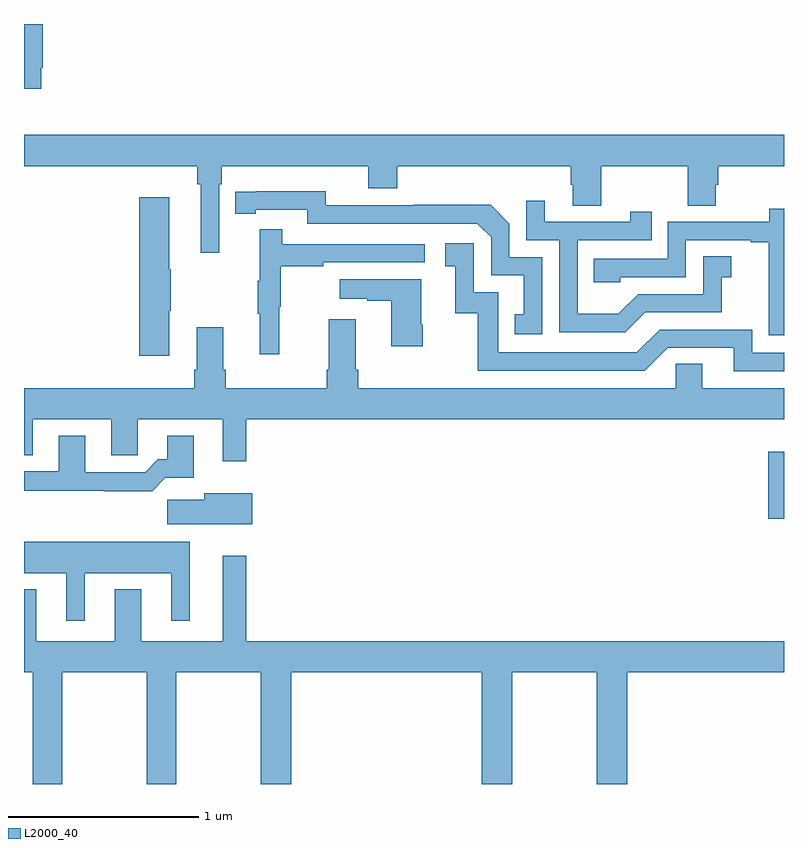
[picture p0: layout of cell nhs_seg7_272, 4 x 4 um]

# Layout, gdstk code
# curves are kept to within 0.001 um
import gdstk
lib = gdstk.Library(unit=1e-6, precision=1e-09)
def R(c, l, rs):  # rectangles x0, y0, x1, y1
    for r in rs: c.add(gdstk.rectangle(r[:2], r[2:], *l))
def P(c, l, *ps):  # polygons
    for p in ps: c.add(gdstk.Polygon(p, *l))
L2000_40 = (2000, 40)

nhs_seg7_272 = lib.new_cell('nhs_seg7_272')
R(nhs_seg7_272, L2000_40, [(134.918,1029.395,135,1029.748)])
P(nhs_seg7_272, L2000_40, [(131.092,1031.77),(131.099,1031.77),(131.099,1032),(131,1032),(131,1031.658),(131.092,1031.658)],
  [(132.027,1031.156),(132.041,1031.156),(132.041,1031.252),(132.812,1031.252),(132.812,1031.135),(132.965,1031.135),(132.965,1031.252),(133.877,1031.252),(133.877,1031.154),(133.889,1031.154),(133.889,1031.044),(134.037,1031.044),(134.037,1031.252),(134.494,1031.252),(134.494,1031.044),(134.641,1031.044),(134.641,1031.154),(134.654,1031.154),(134.654,1031.252),(135,1031.252),(135,1031.416),(131,1031.416),(131,1031.252),(131.911,1031.252),(131.911,1031.156),(131.93,1031.156),(131.93,1030.797),(132.027,1030.797)],
  [(133.728,1030.773),(133.554,1030.773),(133.554,1030.95),(133.456,1031.048),(133.048,1031.048),(133.048,1031.046),(132.588,1031.046),(132.588,1031.119),(132.112,1031.118),(132.112,1031.002),(132.22,1031.002),(132.22,1031.022),(132.492,1031.022),(132.492,1030.95),(133.386,1030.95),(133.458,1030.878),(133.458,1030.677),(133.631,1030.677),(133.631,1030.473),(133.582,1030.473),(133.582,1030.368),(133.728,1030.368)],
  [(131.764,1030.492),(131.772,1030.492),(131.772,1030.709),(131.764,1030.709),(131.764,1031.089),(131.606,1031.089),(131.606,1030.254),(131.764,1030.254)],
  [(134.269,1030.482),(134.673,1030.482),(134.673,1030.667),(134.722,1030.667),(134.722,1030.777),(134.574,1030.777),(134.574,1030.578),(134.232,1030.578),(134.128,1030.474),(133.914,1030.474),(133.914,1030.863),(134.303,1030.863),(134.303,1031.011),(134.192,1031.011),(134.192,1030.959),(133.741,1030.959),(133.741,1031.071),(133.644,1031.071),(133.644,1030.863),(133.818,1030.863),(133.818,1030.377),(134.164,1030.377)],
  [(135,1031.028),(134.922,1031.028),(134.922,1030.959),(134.388,1030.959),(134.388,1030.764),(133.999,1030.764),(133.999,1030.641),(134.139,1030.641),(134.139,1030.668),(134.484,1030.668),(134.484,1030.863),(134.825,1030.863),(134.825,1030.851),(134.921,1030.851),(134.921,1030.567),(134.92,1030.567),(134.92,1030.361),(135,1030.361)],
  [(132.344,1030.512),(132.352,1030.512),(132.352,1030.726),(132.575,1030.726),(132.575,1030.746),(133.108,1030.746),(133.108,1030.842),(132.359,1030.842),(132.359,1030.921),(132.242,1030.921),(132.242,1030.649),(132.231,1030.649),(132.231,1030.475),(132.242,1030.475),(132.242,1030.263),(132.344,1030.263)],
  [(135,1030.269),(134.832,1030.269),(134.832,1030.392),(134.346,1030.392),(134.226,1030.272),(133.497,1030.272),(133.497,1030.587),(133.368,1030.587),(133.368,1030.846),(133.218,1030.846),(133.218,1030.725),(133.271,1030.725),(133.271,1030.478),(133.389,1030.478),(133.389,1030.176),(134.268,1030.176),(134.388,1030.296),(134.735,1030.296),(134.735,1030.173),(135,1030.173)],
  [(133.098,1030.417),(133.09,1030.417),(133.09,1030.657),(132.663,1030.657),(132.663,1030.553),(132.806,1030.553),(132.806,1030.543),(132.932,1030.543),(132.932,1030.305),(133.098,1030.305)],
  [(132.169,1029.92),(135,1029.92),(135,1030.084),(134.569,1030.084),(134.569,1030.211),(134.43,1030.211),(134.43,1030.084),(132.758,1030.084),(132.758,1030.18),(132.745,1030.18),(132.745,1030.447),(132.605,1030.447),(132.605,1030.18),(132.593,1030.18),(132.593,1030.084),(132.062,1030.084),(132.062,1030.18),(132.049,1030.18),(132.049,1030.405),(131.909,1030.405),(131.909,1030.18),(131.897,1030.18),(131.897,1030.084),(131,1030.084),(131,1029.73),(131.047,1029.73),(131.047,1029.92),(131.459,1029.92),(131.459,1029.73),(131.598,1029.73),(131.598,1029.92),(132.047,1029.92),(132.047,1029.699),(132.169,1029.699)],
  [(131.744,1029.611),(131.893,1029.611),(131.893,1029.832),(131.753,1029.832),(131.753,1029.709),(131.704,1029.709),(131.637,1029.642),(131.323,1029.642),(131.323,1029.832),(131.183,1029.832),(131.183,1029.645),(131,1029.645),(131,1029.544),(131.419,1029.544),(131.419,1029.542),(131.675,1029.542)],
  [(132.202,1029.529),(131.948,1029.529),(131.948,1029.497),(131.754,1029.497),(131.754,1029.368),(132.202,1029.368)],
  [(131.32,1029.11),(131.774,1029.11),(131.774,1028.859),(131.872,1028.859),(131.872,1029.274),(131,1029.274),(131,1029.11),(131.222,1029.11),(131.222,1028.859),(131.32,1028.859)],
  [(131.617,1029.025),(131.477,1029.025),(131.477,1028.752),(131.065,1028.752),(131.065,1029.025),(131,1029.025),(131,1028.588),(131.047,1028.588),(131.047,1028),(131.202,1028),(131.202,1028.588),(131.647,1028.588),(131.647,1028),(131.802,1028),(131.802,1028.588),(132.247,1028.588),(132.247,1028),(132.407,1028),(132.407,1028.588),(133.409,1028.588),(133.409,1028),(133.569,1028),(133.569,1028.588),(134.014,1028.588),(134.014,1028),(134.174,1028),(134.174,1028.588),(135,1028.588),(135,1028.752),(132.169,1028.752),(132.169,1029.202),(132.047,1029.202),(132.047,1028.752),(131.617,1028.752)])

lib.write_gds('nhs_seg7_272.gds')
